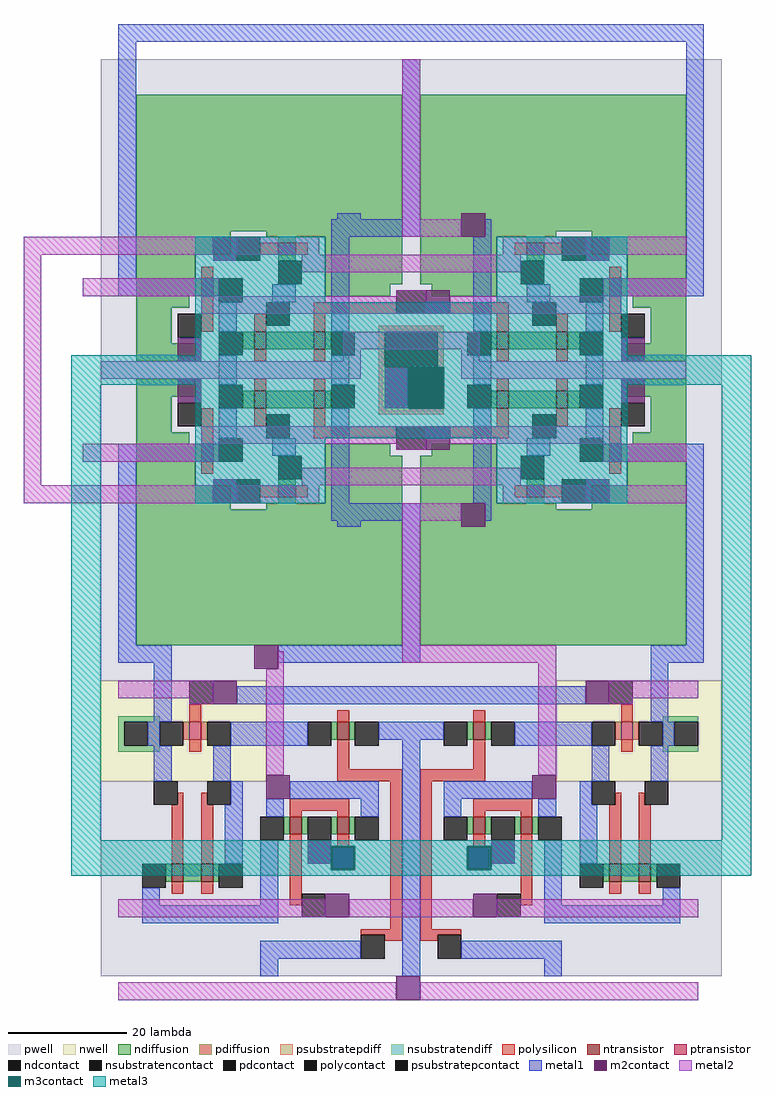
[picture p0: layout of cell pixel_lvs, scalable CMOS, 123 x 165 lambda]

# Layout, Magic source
magic
tech scmos
<< nwell >>
rect 32 -24 60 -7
rect 109 -24 137 -7
<< pwell >>
rect 32 -7 137 98
rect 60 -24 109 -7
rect 32 -57 137 -24
<< ntransistor >>
rect 62 65 65 67
rect 49 58 51 61
rect 104 65 107 67
rect 118 58 120 61
rect 58 49 60 52
rect 68 49 70 52
rect 99 49 101 52
rect 109 49 111 52
rect 58 39 60 42
rect 68 39 70 42
rect 99 39 101 42
rect 109 39 111 42
rect 49 30 51 33
rect 62 24 65 26
rect 118 30 120 33
rect 104 24 107 26
rect 72 -17 74 -14
rect 95 -17 97 -14
rect 64 -33 66 -30
rect 44 -41 46 -38
rect 49 -41 51 -38
rect 72 -33 74 -30
rect 95 -33 97 -30
rect 103 -33 105 -30
rect 118 -41 120 -38
rect 123 -41 125 -38
<< ptransistor >>
rect 47 -17 49 -14
rect 120 -17 122 -14
<< ndiffusion >>
rect 38 69 83 92
rect 38 65 54 69
rect 60 68 83 69
rect 38 61 48 65
rect 62 67 65 68
rect 62 64 65 65
rect 38 58 49 61
rect 51 58 52 61
rect 38 56 47 58
rect 38 50 44 56
rect 70 60 83 68
rect 86 69 131 92
rect 86 68 109 69
rect 86 60 99 68
rect 104 67 107 68
rect 104 64 107 65
rect 115 65 131 69
rect 121 61 131 65
rect 70 58 81 60
rect 88 58 99 60
rect 117 58 118 61
rect 120 58 131 61
rect 122 56 131 58
rect 38 47 48 50
rect 56 49 58 52
rect 60 49 68 52
rect 70 49 71 52
rect 98 49 99 52
rect 101 49 109 52
rect 111 49 113 52
rect 125 50 131 56
rect 121 47 131 50
rect 38 41 48 44
rect 38 35 44 41
rect 56 39 58 42
rect 60 39 68 42
rect 70 39 71 42
rect 38 33 47 35
rect 98 39 99 42
rect 101 39 109 42
rect 111 39 113 42
rect 121 41 131 44
rect 38 30 49 33
rect 51 30 52 33
rect 70 31 81 33
rect 88 31 99 33
rect 38 26 48 30
rect 38 22 54 26
rect 62 26 65 27
rect 62 23 65 24
rect 70 23 83 31
rect 60 22 83 23
rect 38 -1 83 22
rect 86 23 99 31
rect 125 35 131 41
rect 122 33 131 35
rect 117 30 118 33
rect 120 30 131 33
rect 104 26 107 27
rect 104 23 107 24
rect 121 26 131 30
rect 86 22 109 23
rect 115 22 131 26
rect 86 -1 131 22
rect 71 -17 72 -14
rect 74 -17 75 -14
rect 94 -17 95 -14
rect 97 -17 98 -14
rect 63 -33 64 -30
rect 66 -33 67 -30
rect 43 -41 44 -38
rect 46 -41 49 -38
rect 51 -41 52 -38
rect 71 -33 72 -30
rect 74 -33 75 -30
rect 94 -33 95 -30
rect 97 -33 98 -30
rect 102 -33 103 -30
rect 105 -33 106 -30
rect 117 -41 118 -38
rect 120 -41 123 -38
rect 125 -41 126 -38
<< pdiffusion >>
rect 46 -17 47 -14
rect 49 -17 50 -14
rect 119 -17 120 -14
rect 122 -17 123 -14
<< ndcontact >>
rect 52 57 56 61
rect 62 60 66 64
rect 103 60 107 64
rect 113 57 117 61
rect 52 48 56 52
rect 71 48 75 52
rect 94 48 98 52
rect 113 48 117 52
rect 52 39 56 43
rect 71 39 75 43
rect 94 39 98 43
rect 113 39 117 43
rect 52 30 56 34
rect 62 27 66 31
rect 103 27 107 31
rect 113 30 117 34
rect 67 -18 71 -14
rect 75 -18 79 -14
rect 90 -18 94 -14
rect 98 -18 102 -14
rect 59 -34 63 -30
rect 39 -42 43 -38
rect 52 -42 56 -38
rect 67 -34 71 -30
rect 75 -34 79 -30
rect 90 -34 94 -30
rect 98 -34 102 -30
rect 106 -34 110 -30
rect 113 -42 117 -38
rect 126 -42 130 -38
<< pdcontact >>
rect 42 -18 46 -14
rect 50 -18 54 -14
rect 115 -18 119 -14
rect 123 -18 127 -14
<< psubstratepdiff >>
rect 79 52 90 53
rect 79 46 80 52
rect 89 46 90 52
rect 79 38 90 46
<< nsubstratendiff >>
rect 35 -14 42 -13
rect 127 -14 133 -13
rect 35 -18 36 -14
rect 40 -18 42 -14
rect 35 -19 42 -18
rect 127 -18 129 -14
rect 127 -19 133 -18
<< psubstratepcontact >>
rect 80 46 89 52
<< nsubstratencontact >>
rect 36 -18 40 -14
rect 129 -18 133 -14
<< polysilicon >>
rect 59 65 62 67
rect 65 65 67 67
rect 49 61 51 63
rect 49 52 51 58
rect 102 65 104 67
rect 107 65 110 67
rect 118 61 120 63
rect 58 52 60 55
rect 68 55 82 57
rect 87 55 101 57
rect 68 52 70 55
rect 99 52 101 55
rect 109 52 111 55
rect 118 52 120 58
rect 58 47 60 49
rect 68 47 70 49
rect 99 47 101 49
rect 109 47 111 49
rect 58 42 60 44
rect 68 42 70 44
rect 49 33 51 39
rect 58 36 60 39
rect 68 36 70 39
rect 99 42 101 44
rect 109 42 111 44
rect 99 36 101 39
rect 68 34 82 36
rect 87 34 101 36
rect 109 36 111 39
rect 49 28 51 30
rect 59 24 62 26
rect 65 24 67 26
rect 118 33 120 39
rect 118 28 120 30
rect 102 24 104 26
rect 107 24 110 26
rect 47 -14 49 -11
rect 72 -14 74 -12
rect 95 -14 97 -12
rect 120 -14 122 -11
rect 47 -19 49 -17
rect 72 -22 74 -17
rect 95 -22 97 -17
rect 120 -19 122 -17
rect 72 -24 83 -22
rect 45 -28 46 -26
rect 44 -38 46 -28
rect 49 -28 50 -26
rect 49 -38 51 -28
rect 64 -29 74 -27
rect 64 -30 66 -29
rect 72 -30 74 -29
rect 44 -43 46 -41
rect 49 -43 51 -41
rect 64 -45 66 -33
rect 72 -35 74 -33
rect 81 -49 83 -24
rect 76 -50 83 -49
rect 80 -51 83 -50
rect 86 -24 97 -22
rect 86 -49 88 -24
rect 95 -29 105 -27
rect 119 -28 120 -26
rect 95 -30 97 -29
rect 103 -30 105 -29
rect 95 -35 97 -33
rect 103 -45 105 -33
rect 118 -38 120 -28
rect 123 -28 124 -26
rect 123 -38 125 -28
rect 118 -43 120 -41
rect 123 -43 125 -41
rect 86 -50 93 -49
rect 86 -51 89 -50
<< polycontact >>
rect 55 64 59 68
rect 45 51 49 55
rect 110 64 114 68
rect 60 53 64 57
rect 82 55 87 59
rect 105 53 109 57
rect 120 51 124 55
rect 45 36 49 40
rect 60 34 64 38
rect 82 32 87 36
rect 105 34 109 38
rect 55 23 59 27
rect 120 36 124 40
rect 110 23 114 27
rect 47 -11 51 -7
rect 118 -11 122 -7
rect 41 -28 45 -24
rect 50 -28 54 -24
rect 66 -47 70 -43
rect 76 -54 80 -50
rect 115 -28 119 -24
rect 99 -47 103 -43
rect 124 -28 128 -24
rect 89 -54 93 -50
<< metal1 >>
rect 35 101 134 104
rect 35 61 38 101
rect 72 71 76 72
rect 83 71 86 98
rect 71 68 86 71
rect 97 68 98 71
rect 35 58 52 61
rect 61 57 65 60
rect 52 52 55 57
rect 71 52 74 68
rect 95 52 98 68
rect 131 61 134 101
rect 104 57 108 60
rect 117 58 134 61
rect 114 52 117 57
rect 52 43 55 48
rect 71 43 74 48
rect 84 42 89 46
rect 95 43 98 48
rect 114 43 117 48
rect 52 34 55 39
rect 35 30 52 33
rect 61 31 65 34
rect 35 -1 38 30
rect 71 23 74 39
rect 95 23 98 39
rect 114 34 117 39
rect 104 31 108 34
rect 117 30 134 33
rect 71 20 86 23
rect 72 19 76 20
rect 83 -1 86 20
rect 97 20 98 23
rect 131 -1 134 30
rect 35 -4 44 -1
rect 41 -14 44 -4
rect 62 -4 86 -1
rect 125 -4 134 -1
rect 55 -11 114 -8
rect 125 -14 128 -4
rect 40 -18 42 -14
rect 54 -18 67 -14
rect 79 -17 90 -14
rect 41 -24 44 -18
rect 51 -24 54 -18
rect 54 -28 56 -24
rect 53 -38 56 -28
rect 64 -27 79 -24
rect 60 -30 63 -27
rect 76 -30 79 -27
rect 39 -45 42 -42
rect 59 -45 62 -34
rect 39 -48 62 -45
rect 59 -54 76 -51
rect 59 -57 62 -54
rect 83 -57 86 -17
rect 102 -18 115 -14
rect 127 -18 129 -14
rect 90 -27 105 -24
rect 115 -24 118 -18
rect 125 -24 128 -18
rect 90 -30 93 -27
rect 106 -30 109 -27
rect 113 -28 115 -24
rect 107 -45 110 -34
rect 113 -38 116 -28
rect 127 -45 130 -42
rect 107 -48 130 -45
rect 93 -54 110 -51
rect 107 -57 110 -54
<< m2contact >>
rect 93 68 97 72
rect 51 64 55 68
rect 45 47 49 51
rect 87 55 91 59
rect 114 64 118 68
rect 45 40 49 44
rect 80 39 84 46
rect 120 47 124 51
rect 51 23 55 27
rect 87 32 91 36
rect 120 40 124 44
rect 114 23 118 27
rect 93 19 97 23
rect 58 -5 62 -1
rect 51 -11 55 -7
rect 114 -11 118 -7
rect 60 -27 64 -23
rect 67 -38 71 -34
rect 70 -47 74 -43
rect 105 -27 109 -23
rect 98 -38 102 -34
rect 95 -47 99 -43
rect 82 -61 86 -57
<< metal2 >>
rect 83 71 86 98
rect 83 68 93 71
rect 19 65 51 68
rect 19 26 22 65
rect 55 65 69 68
rect 100 65 114 68
rect 66 62 103 65
rect 118 65 131 68
rect 29 58 52 61
rect 82 58 87 59
rect 49 55 87 58
rect 117 58 131 61
rect 91 55 120 58
rect 73 49 96 52
rect 73 47 76 49
rect 32 44 76 47
rect 93 47 96 49
rect 93 44 131 47
rect 49 33 87 36
rect 29 30 52 33
rect 82 32 87 33
rect 91 33 120 36
rect 117 30 131 33
rect 19 23 51 26
rect 66 26 103 29
rect 55 23 69 26
rect 100 23 114 26
rect 118 23 131 26
rect 83 20 93 23
rect 83 -1 86 20
rect 62 -5 63 -2
rect 83 -4 109 -1
rect 35 -10 51 -7
rect 47 -11 51 -10
rect 60 -23 63 -5
rect 106 -23 109 -4
rect 118 -10 133 -7
rect 118 -11 122 -10
rect 35 -47 70 -44
rect 74 -47 95 -44
rect 99 -47 133 -44
rect 35 -61 82 -58
rect 86 -61 133 -58
<< m3contact >>
rect 84 39 90 46
rect 71 -39 75 -35
rect 94 -39 98 -35
<< metal3 >>
rect 48 57 70 68
rect 99 57 121 68
rect 48 48 121 57
rect 27 46 142 48
rect 27 43 84 46
rect 27 -34 32 43
rect 48 39 84 43
rect 90 43 142 46
rect 90 39 121 43
rect 48 34 121 39
rect 48 23 70 34
rect 99 23 121 34
rect 137 -34 142 43
rect 27 -35 142 -34
rect 27 -39 71 -35
rect 75 -39 94 -35
rect 98 -39 142 -35
rect 27 -40 142 -39
<< end >>
